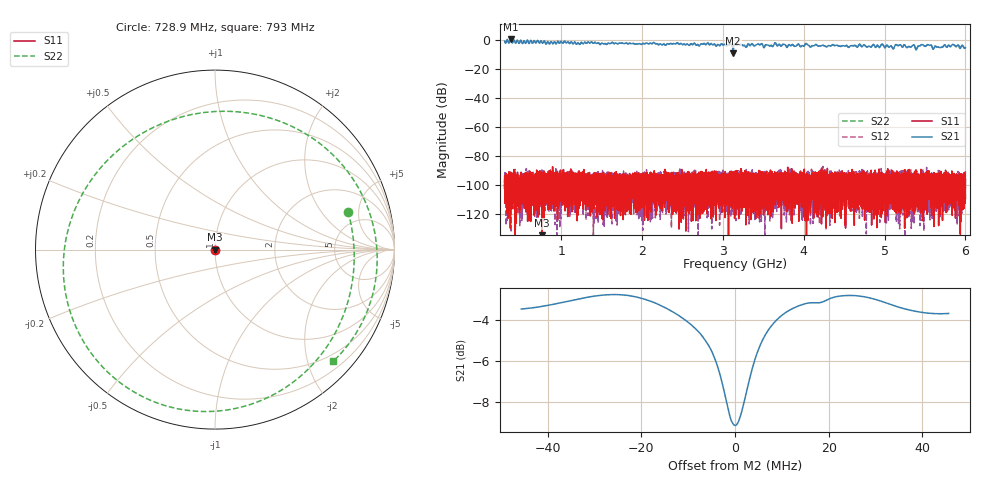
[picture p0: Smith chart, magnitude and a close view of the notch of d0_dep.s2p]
!Agilent Technologies,N5230C,SG49000117,A.08.50.07
!Agilent N5230C: A.08.50.07
!Date: Sunday, March 17, 2024 07:16:49
!Correction: S11(Off)
!S21(Off)
!S12(Off)
!S22(Off)
!S2P File: Measurements: S11, S21, S12, S22:
# Hz S  RI  R 50
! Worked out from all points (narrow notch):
!   20001 points, 300 MHz to 6 GHz, reference 50 ohm
!   highest |S21| = 0.48 dB at 374.4 MHz (marker M1); lowest = -9.2 dB at 3.126 GHz (marker M2)
!   notch at M2: 5.9 dB deep, 7.65 MHz wide at half that depth
!   lowest |S11| = -149.1 dB at 760.6 MHz (marker M3), VSWR 1.00, Z = 50 + j3.35e-06 ohm
!   |S11| at or under -10 dB: start of sweep to end of sweep
!   |S22| runs from -9.2 to 0.5 dB; largest |S21 - S12| = 1.1
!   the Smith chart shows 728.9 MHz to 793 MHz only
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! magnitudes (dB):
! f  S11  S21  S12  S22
! 300 MHz  -100.0  -0.9  -96.8  -0.8
! 374.4 MHz  -95.0  0.5  -99.8  0.5
! 760.6 MHz  -149.1  -1.7  -93.1  -1.7
! 1.25 GHz  -108.4  -1.7  -106.1  -1.7
! 2.2 GHz  -99.9  -3.3  -101.6  -3.3
! 2.831 GHz  -101.9  -3.3  -98.5  -3.3
! 3.126 GHz  -109.7  -9.2  -107.4  -9.2
! 3.15 GHz  -90.9  -2.8  -100.4  -2.8
! 3.46 GHz  -97.3  -3.4  -104.2  -3.4
! 3.979 GHz  -100.9  -4.0  -102.4  -3.9
! 4.038 GHz  -104.6  -2.9  -102.2  -2.8
! 4.1 GHz  -103.0  -4.3  -98.4  -4.2
! 5.05 GHz  -97.6  -5.0  -106.0  -4.9
! 5.099 GHz  -106.4  -5.8  -107.9  -5.7
! 5.172 GHz  -97.5  -4.0  -126.6  -3.9
! 5.401 GHz  -95.5  -6.0  -93.0  -6.0
! 5.448 GHz  -96.0  -3.7  -100.9  -3.7
! 5.552 GHz  -105.6  -3.8  -98.1  -3.8
! 5.613 GHz  -102.0  -5.5  -95.0  -5.5
! 5.691 GHz  -96.9  -5.3  -100.3  -5.3
! 5.85 GHz  -106.3  -3.3  -104.6  -3.3
! 6 GHz  -109.4  -5.4  -102.5  -5.5
